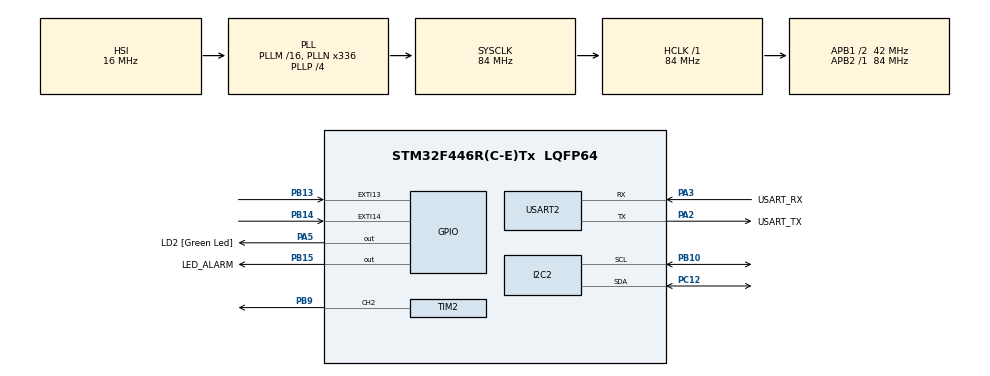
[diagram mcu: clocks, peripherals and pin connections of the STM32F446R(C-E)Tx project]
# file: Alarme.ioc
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Mcu.Family=STM32F4
Mcu.Name=STM32F446R(C-E)Tx
Mcu.Package=LQFP64
NVIC.EXTI15_10_IRQn=true\:0\:0\:false\:false\:true\:true\:true\:true
NVIC.PriorityGroup=NVIC_PRIORITYGROUP_0
PA13.GPIO_Label=TMS
PA13.Mode=Serial_Wire
PA13.Signal=SYS_JTMS-SWDIO
PA14.GPIO_Label=TCK
PA14.Mode=Serial_Wire
PA14.Signal=SYS_JTCK-SWCLK
PA2.GPIO_Label=USART_TX
PA2.Mode=Asynchronous
PA2.Signal=USART2_TX
PA3.GPIO_Label=USART_RX
PA3.Mode=Asynchronous
PA3.Signal=USART2_RX
PA5.GPIO_Label=LD2 [Green Led]
PA5.Signal=GPIO_Output
PB10.Mode=I2C
PB10.Signal=I2C2_SCL
PB13.Signal=GPXTI13
PB14.Signal=GPXTI14
PB15.GPIO_Label=LED_ALARM
PB15.Signal=GPIO_Output
PB3.GPIO_Label=SWO
PB3.Signal=SYS_JTDO-SWO
PB4.Signal=I2C3_SDA
PB9.Signal=S_TIM2_CH2
PC12.Mode=I2C
PC12.Signal=I2C2_SDA
PC14-OSC32_IN.Mode=LSE-External-Oscillator
PC14-OSC32_IN.Signal=RCC_OSC32_IN
PC15-OSC32_OUT.Mode=LSE-External-Oscillator
PC15-OSC32_OUT.Signal=RCC_OSC32_OUT
PH0-OSC_IN.Mode=HSE-External-Oscillator
PH0-OSC_IN.Signal=RCC_OSC_IN
PH1-OSC_OUT.Mode=HSE-External-Oscillator
PH1-OSC_OUT.Signal=RCC_OSC_OUT
ProjectManager.HeapSize=0x200
ProjectManager.StackSize=0x400
ProjectManager.TargetToolchain=STM32CubeIDE
RCC.48MHZClocksFreq_Value=84000000
RCC.AHBFreq_Value=84000000
RCC.APB1CLKDivider=RCC_HCLK_DIV2
RCC.APB1Freq_Value=42000000
RCC.APB1TimFreq_Value=84000000
RCC.APB2Freq_Value=84000000
RCC.APB2TimFreq_Value=84000000
RCC.CortexFreq_Value=84000000
RCC.FLatency-AdvancedSettings=FLASH_LATENCY_2
RCC.HCLKFreq_Value=84000000
RCC.HSE_VALUE=8000000
RCC.HSI_VALUE=16000000
RCC.PLLN=336
RCC.PLLP=RCC_PLLP_DIV4
RCC.SYSCLKFreq_VALUE=84000000
RCC.SYSCLKSource=RCC_SYSCLKSOURCE_PLLCLK
RCC.USBFreq_Value=168000000
RCC.VCOOutputFreq_Value=336000000
SH.S_TIM2_CH2.0=TIM2_CH2,PWM Generation2 CH2
TIM2.Channel-PWM\ Generation2\ CH2=TIM_CHANNEL_2
TIM2.Period=3000
TIM2.Prescaler=71
TIM2.Pulse-PWM\ Generation2\ CH2=100
USART2.VirtualMode=VM_ASYNC
board=NUCLEO-F446RE

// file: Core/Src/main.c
/* USER CODE BEGIN Header */
/**
  ******************************************************************************
  * @file           : main.c
  * @brief          : Main program body
  ******************************************************************************
  * @attention
  *
  * Copyright (c) 2025 STMicroelectronics.
  * All rights reserved.
  *
  * This software is licensed under terms that can be found in the LICENSE file
  * in the root directory of this software component.
  * If no LICENSE file comes with this software, it is provided AS-IS.
  *
  ******************************************************************************
  */
/* USER CODE END Header */
#include "main.h"
#include "i2c.h"
#include "tim.h"
#include "usart.h"
#include "gpio.h"

/* USER CODE BEGIN Includes */
#include <stdio.h>
#include <stdint.h>
#include "alarm.h"
#include "display.h"
/* USER CODE END Includes */

void SystemClock_Config(void);

/* USER CODE BEGIN 0 */
void __io_putchar(uint8_t ch) {
    HAL_UART_Transmit(&huart2, &ch, 1, 1);
}
/* USER CODE END 0 */

int main(void)
{

  /* MCU Configuration--------------------------------------------------------*/

  /* Reset of all peripherals, Initializes the Flash interface and the Systick. */
  HAL_Init();

  /* Configure the system clock */
  SystemClock_Config();

  /* Initialize all configured peripherals */
  MX_GPIO_Init();
  MX_USART2_UART_Init();
  MX_TIM2_Init();
  MX_I2C2_Init();
  /* USER CODE BEGIN 2 */

  __HAL_TIM_SET_COMPARE(&htim2, TIM_CHANNEL_2, 20);
  AlarmInit();
  HAL_GPIO_WritePin(GPIOB, GPIO_PIN_13, 0);
  display_init();
  display_show(DISPLAY_INIT);
  /* USER CODE END 2 */

  /* Infinite loop */
  /* USER CODE BEGIN WHILE */
  while (1)
  {
	  uint8_t status=getAlarmStatus();
	if (status==2){ //ALARM ON + Movement
		HAL_TIM_PWM_Start(&htim2, TIM_CHANNEL_2);
		display_show(DISPLAY_MOTION_DETECTED);
	}
	else if (status==1) // ALARM ON
	{
		HAL_TIM_PWM_Stop(&htim2, TIM_CHANNEL_2);
		display_show(DISPLAY_ALARM_ON);
	}
	else {
		// ALARM OFF
		HAL_TIM_PWM_Stop(&htim2, TIM_CHANNEL_2);
		display_show(DISPLAY_ALARM_OFF);

	}
	HAL_Delay(100);
    /* USER CODE END WHILE */

  }
}

void SystemClock_Config(void)
{
  RCC_OscInitTypeDef RCC_OscInitStruct = {0};
  RCC_ClkInitTypeDef RCC_ClkInitStruct = {0};

  /** Configure the main internal regulator output voltage
  */
  __HAL_RCC_PWR_CLK_ENABLE();
  __HAL_PWR_VOLTAGESCALING_CONFIG(PWR_REGULATOR_VOLTAGE_SCALE3);

  /** Initializes the RCC Oscillators according to the specified parameters
  * in the RCC_OscInitTypeDef structure.
  */
  RCC_OscInitStruct.OscillatorType = RCC_OSCILLATORTYPE_HSI;
  RCC_OscInitStruct.HSIState = RCC_HSI_ON;
  RCC_OscInitStruct.HSICalibrationValue = RCC_HSICALIBRATION_DEFAULT;
  RCC_OscInitStruct.PLL.PLLState = RCC_PLL_ON;
  RCC_OscInitStruct.PLL.PLLSource = RCC_PLLSOURCE_HSI;
  RCC_OscInitStruct.PLL.PLLM = 16;
  RCC_OscInitStruct.PLL.PLLN = 336;
  RCC_OscInitStruct.PLL.PLLP = RCC_PLLP_DIV4;
  RCC_OscInitStruct.PLL.PLLQ = 2;
  RCC_OscInitStruct.PLL.PLLR = 2;
  if (HAL_RCC_OscConfig(&RCC_OscInitStruct) != HAL_OK)
  {
    Error_Handler();
  }

  /** Initializes the CPU, AHB and APB buses clocks
  */
  RCC_ClkInitStruct.ClockType = RCC_CLOCKTYPE_HCLK|RCC_CLOCKTYPE_SYSCLK
                              |RCC_CLOCKTYPE_PCLK1|RCC_CLOCKTYPE_PCLK2;
  RCC_ClkInitStruct.SYSCLKSource = RCC_SYSCLKSOURCE_PLLCLK;
  RCC_ClkInitStruct.AHBCLKDivider = RCC_SYSCLK_DIV1;
  RCC_ClkInitStruct.APB1CLKDivider = RCC_HCLK_DIV2;
  RCC_ClkInitStruct.APB2CLKDivider = RCC_HCLK_DIV1;

  if (HAL_RCC_ClockConfig(&RCC_ClkInitStruct, FLASH_LATENCY_2) != HAL_OK)
  {
    Error_Handler();
  }
}

void Error_Handler(void)
{
  __disable_irq();
  while (1)
  {
  }
}
